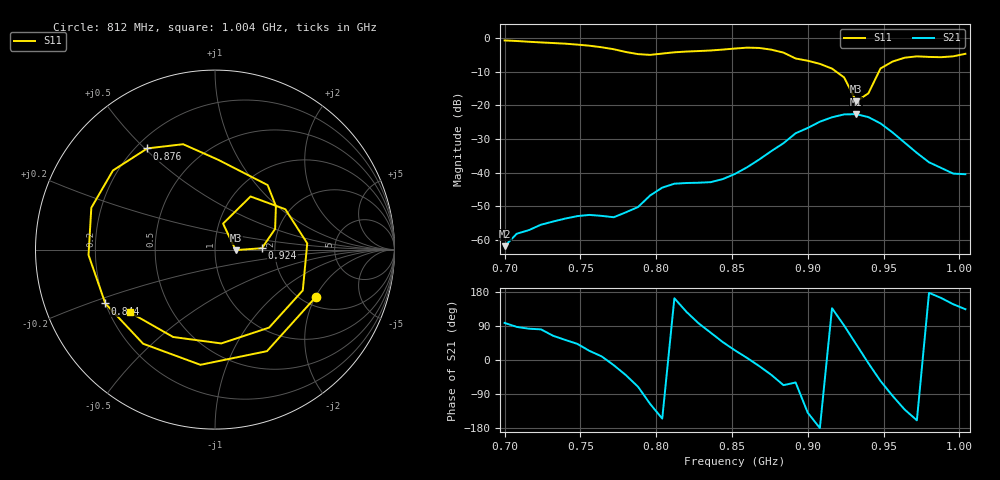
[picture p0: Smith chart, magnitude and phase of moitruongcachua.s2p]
# Hz S RI R 50
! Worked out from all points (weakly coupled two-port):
!   39 points, 700 MHz to 1.004 GHz, reference 50 ohm
!   highest |S21| = -22.60 dB at 932 MHz (marker M1); lowest = -61.9 dB at 700 MHz (marker M2)
!   lowest |S11| = -18.8 dB at 932 MHz (marker M3), VSWR 1.26, Z = 63 - j0.366 ohm
!   |S11| at or under -10 dB: 919 MHz to 946.9 MHz (27.89 MHz wide, 2.99 % of centre)
!   S12 and S22 are empty: the file has one direction only
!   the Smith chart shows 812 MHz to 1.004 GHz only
!   S11 on the Smith chart (normalised r, x): 812 MHz: 2.33, -2.01; 844 MHz: 0.20, -0.22; 876 MHz: 0.24, +0.51; 924 MHz: 1.71, +0.03; 1.004 GHz: 0.28, -0.31
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7e8  0.7638 0.5317  -0.00011 0.000792  0 0  0 0
7.24e8  0.8299 -0.2602  0.000266 0.00165  0 0  0 0
7.4e8  0.4497 -0.7014  0.00124 0.00165  0 0  0 0
7.56e8  -0.1906 -0.7532  0.00213 0.000952  0 0  0 0
7.72e8  -0.6584 -0.2027  0.0021 -0.000509  0 0  0 0
7.8e8  -0.5886 0.2143  0.00196 -0.00164  0 0  0 0
7.88e8  -0.2529 0.5245  0.00102 -0.00288  0 0  0 0
7.96e8  0.2298 0.5189  -0.00199 -0.00409  0 0  0 0
8.04e8  0.5631 0.1858  -0.00539 -0.00256  0 0  0 0
8.12e8  0.5604 -0.2655  -0.00652 0.00201  0 0  0 0
8.28e8  -0.0812 -0.6419  -0.000835 0.00701  0 0  0 0
8.44e8  -0.6111 -0.2999  0.00544 0.00586  0 0  0 0
8.52e8  -0.7047 -0.03  0.00862 0.00409  0 0  0 0
8.76e8  -0.3772 0.5638  0.0162 -0.0132  0 0  0 0
9.08e8  0.3393 0.2421  -0.0573 -0.000405  0 0  0 0
9.24e8  0.2614 0.00776  -0.0011 0.0736  0 0  0 0
9.32e8  0.1152 -0.00286  0.0557 0.0489  0 0  0 0
9.4e8  0.045 0.1447  0.0664 -0.00985  0 0  0 0
9.56e8  0.3919 0.2249  -0.00336 -0.0394  0 0  0 0
9.72e8  0.4891 -0.2274  -0.0183 -0.00698  0 0  0 0
9.88e8  0.0349 -0.5228  -0.0113 0.00329  0 0  0 0
1.004e9  -0.4737 -0.3501  -0.00656 0.00679  0 0  0 0
